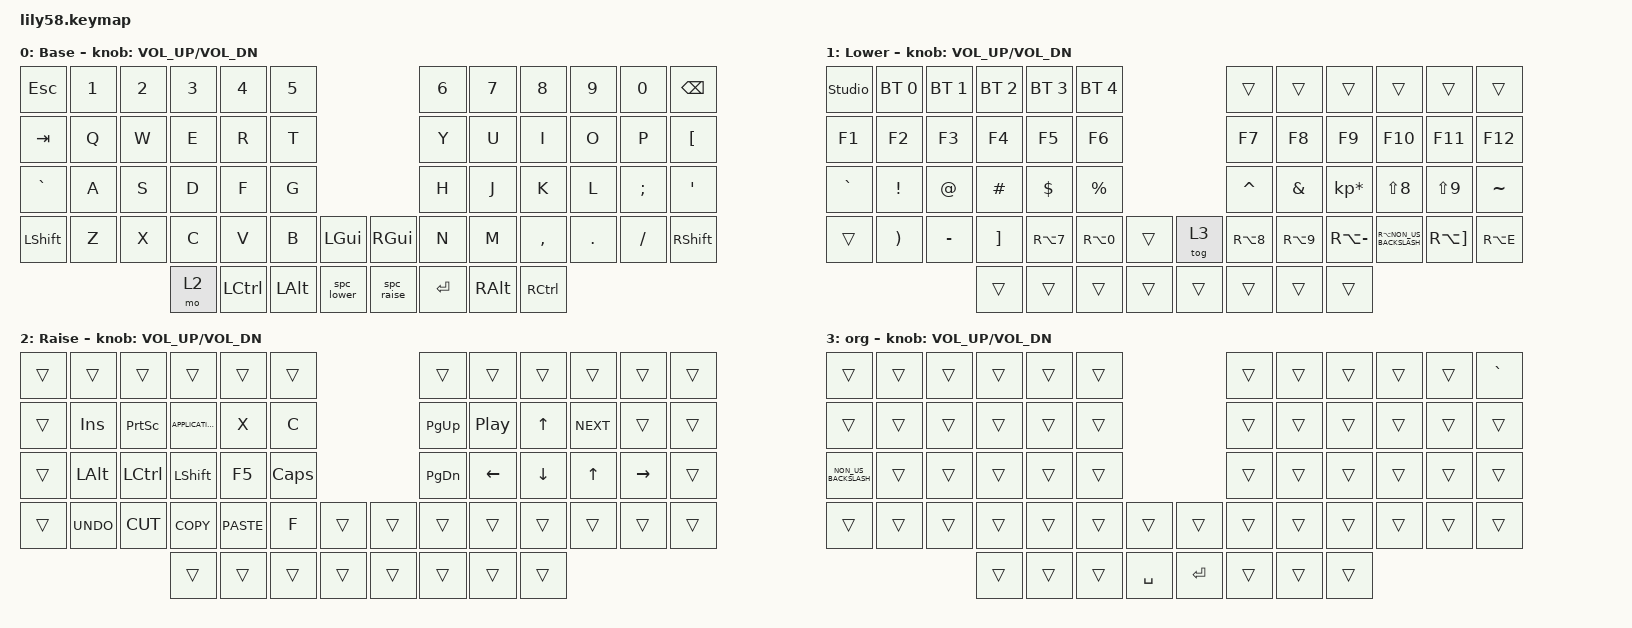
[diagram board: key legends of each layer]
/*
 * Copyright (c) 2020 The ZMK Contributors
 *
 * SPDX-License-Identifier: MIT
 */

#include <behaviors.dtsi>
#include <dt-bindings/zmk/bt.h>
#include <dt-bindings/zmk/keys.h>

// The stock lily58 shield enables OLED panel inversion (dark-on-light);
// the fireplace wants lit flames on a dark screen. The keymap is the last
// devicetree overlay, so the tweak lives here.
&oled { /delete-property/ inversion-on; };

/ {
    behaviors {
        // Thumb layer keys: Space alone, momentary layer while Shift is held.
        // Shift is masked, so the layer opens clean (symbols are not shifted).
        spc_lower: space_lower {
            compatible = "zmk,behavior-mod-morph";
            #binding-cells = <0>;
            bindings = <&kp SPACE>, <&mo 1>;
            mods = <(MOD_LSFT|MOD_RSFT)>;
        };

        spc_raise: space_raise {
            compatible = "zmk,behavior-mod-morph";
            #binding-cells = <0>;
            bindings = <&kp SPACE>, <&mo 2>;
            mods = <(MOD_LSFT|MOD_RSFT)>;
        };
    };

    combos {
        compatible = "zmk,combos";

        // Both space thumbs together toggle the org layer (on layers
        // base and org, so the same two-thumb press gets you back out).
        combo_org_toggle {
            timeout-ms = <100>;
            key-positions = <53 54>;
            bindings = <&tog 3>;
            layers = <0 3>;
        };
    };

    keymap {
        compatible = "zmk,keymap";

        // German QWERTZ, laid out like a German ThinkPad. The OS keyboard
        // layout (de) does the letter mapping, so the keycodes below are
        // US-positional: &kp Y types z, &kp SEMI types ö, and so on.
        // The comments show what actually comes out.
        default_layer {
            // ------------------------------------------------------------------------------------------------------------
            // |  ESC  |  1  |  2  |  3   |  4   |  5   |                   |  6   |  7    |  8    |  9   |   0   | BKSPC |
            // |  TAB  |  q  |  w  |  e   |  r   |  t   |                   |  z   |  u    |  i    |  o   |   p   |   ü   |
            // |  ^ °  |  a  |  s  |  d   |  f   |  g   |                   |  h   |  j    |  k    |  l   |   ö   |   ä   |
            // | SHIFT |  y  |  x  |  c   |  v   |  b   |   GUI  |  |  GUI  |  n   |  m    |  ,    |  .   |   -   | SHIFT |
            //                     | RAISE| CTRL | ALT  | SPC/L |  | SPC/R | ENTER | ALTGR | CTRL  |
            // SPC/L and SPC/R are Space; Shift+SPC/L is Lower, Shift+SPC/R is Raise.

            display-name = "Base";
            bindings = <
&kp ESC    &kp N1  &kp N2  &kp N3     &kp N4        &kp N5                                 &kp N6  &kp N7         &kp N8     &kp N9   &kp N0    &kp BACKSPACE
&kp TAB    &kp Q   &kp W   &kp E      &kp R         &kp T                                  &kp Y   &kp U          &kp I      &kp O    &kp P     &kp LBKT
&kp GRAVE  &kp A   &kp S   &kp D      &kp F         &kp G                                  &kp H   &kp J          &kp K      &kp L    &kp SEMI  &kp SQT
&kp LSHFT  &kp Z   &kp X   &kp C      &kp V         &kp B   &kp LEFT_GUI    &kp RIGHT_GUI  &kp N   &kp M          &kp COMMA  &kp DOT  &kp FSLH  &kp RSHFT
                           &mo 2      &kp LCTRL     &kp LEFT_ALT  &spc_lower  &spc_raise  &kp RET  &kp RIGHT_ALT  &kp RCTRL
            >;

            sensor-bindings = <&inc_dec_kp C_VOL_UP C_VOL_DN>;
        };

        // Symbols are chosen for a *German* OS layout — the comments show
        // what actually gets typed. AltGr combos (RA) match the German
        // ThinkPad: { } [ ] \ | ~ € live on AltGr there too.
        lower_layer {
            // ------------------------------------------------------------------------------------------------------------
            // | UNLCK | BT1 | BT2 |  BT3 |  BT4 |  BT5 |                   |      |       |       |      |       |       |
            // |  F1   |  F2 |  F3 |  F4  |  F5  |  F6  |                   |  F7  |  F8   |  F9   |  F10 |  F11  |  F12  |
            // |  ^ °  |  !  |  "  |  §   |  $   |  %   |                   |  &   |  /    |  *    |  (   |   )   |   °   |
            // |       |  =  |  ß  |  +   |  {   |  }   |        |  | ->org |  [   |  ]    |  \    |  "|" |   ~   |   €   |
            //                     |      |      |      |        |  |       |      |       |       |

            display-name = "Lower";
            bindings = <
&studio_unlock  &bt BT_SEL 0  &bt BT_SEL 1  &bt BT_SEL 2  &bt BT_SEL 3  &bt BT_SEL 4                     &trans     &trans     &trans         &trans                    &trans       &trans
&kp F1          &kp F2        &kp F3        &kp F4        &kp F5        &kp F6                           &kp F7     &kp F8     &kp F9         &kp F10                   &kp F11      &kp F12
&kp GRAVE       &kp EXCL      &kp AT        &kp HASH      &kp DOLLAR    &kp PRCNT                        &kp CARET  &kp AMPS   &kp KP_MULTIPLY &kp LS(N8)               &kp LS(N9)   &kp TILDE
&trans          &kp RPAR      &kp MINUS     &kp RBKT      &kp RA(N7)    &kp RA(N0)   &trans    &tog 3    &kp RA(N8) &kp RA(N9) &kp RA(MINUS)  &kp RA(NON_US_BACKSLASH)  &kp RA(RBKT) &kp RA(E)
                                            &trans        &trans        &trans       &trans    &trans    &trans     &trans     &trans
            >;

            sensor-bindings = <&inc_dec_kp C_VOL_UP C_VOL_DN>;
        };

        raise_layer {
            // ------------------------------------------------------------------------------------------------------------
            // |       |     |     |      |      |      |                   |      |       |       |      |       |       |
            // |   `   |  1  |  2  |  3   |  4   |  5   |                   |  6   |   7   |   8   |  9   |   0   |       |
            // |   F1  |  F2 |  F3 |  F4  |  F5  |  F6  |                   |      |   <-  |   v   |  ^   |  ->   |       |
            // |   F7  |  F8 |  F9 |  F10 |  F11 |  F12 |        |  |       |  +   |   -   |   =   |  [   |   ]   |   \   |
            //                     |      |      |      |        |  |       |      |       |       |

            display-name = "Raise";
            bindings = <
&trans  &trans        &trans     &trans             &trans       &trans                      &trans         &trans            &trans        &trans      &trans     &trans
&trans  &kp INSERT    &kp PSCRN  &kp K_APPLICATION  &kp X        &kp C                       &kp PG_UP      &kp C_PLAY_PAUSE  &kp UP_ARROW  &kp C_NEXT  &trans     &trans
&trans  &kp LEFT_ALT  &kp LCTRL  &kp LEFT_SHIFT     &kp F5       &kp CLCK                    &kp PAGE_DOWN  &kp LEFT          &kp DOWN      &kp UP      &kp RIGHT  &trans
&trans  &kp K_UNDO    &kp K_CUT  &kp K_COPY         &kp K_PASTE  &kp F     &trans    &trans  &trans         &trans            &trans        &trans      &trans     &trans
                                 &trans             &trans       &trans    &trans    &trans  &trans         &trans            &trans
            >;

            sensor-bindings = <&inc_dec_kp C_VOL_UP C_VOL_DN>;
        };

        // Spacemacs/evil + org-mode layer, toggled with Lower+Raise together
        // (same two-thumb press exits — see the combo above).
        //
        // Only the differences from Base are bound; everything else is
        // &trans so it falls through — this also keeps Lower and Raise fully
        // usable while org is on (org has the highest layer index, so any
        // non-transparent key here would shadow them).
        //
        // Differences: SPACE moves to the strong left thumb (evil leader),
        // ENTER to the right thumb, `<` on the home-row pinky (org-mode
        // structure editing / spacemacs; NON_US_BACKSLASH is the German ISO
        // `<` key), ^ where Backspace was.
        org_layer {
            display-name = "org";
            bindings = <
&trans                 &trans  &trans  &trans  &trans  &trans                       &trans  &trans  &trans  &trans  &trans  &kp GRAVE
&trans                 &trans  &trans  &trans  &trans  &trans                       &trans  &trans  &trans  &trans  &trans  &trans
&kp NON_US_BACKSLASH   &trans  &trans  &trans  &trans  &trans                       &trans  &trans  &trans  &trans  &trans  &trans
&trans         &trans  &trans  &trans  &trans  &trans  &trans     &trans    &trans  &trans  &trans  &trans  &trans  &trans
                               &trans  &trans  &trans  &kp SPACE  &kp ENTER &trans  &trans  &trans
            >;

            sensor-bindings = <&inc_dec_kp C_VOL_UP C_VOL_DN>;
        };
    };
};
